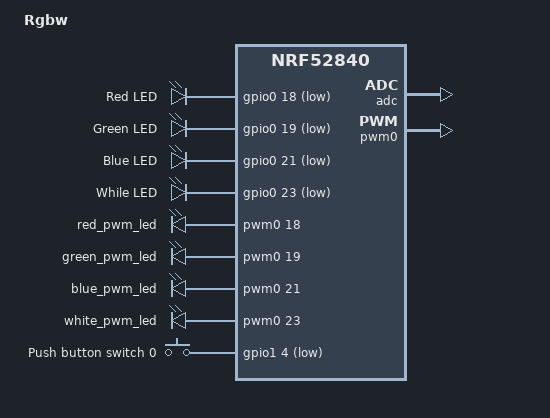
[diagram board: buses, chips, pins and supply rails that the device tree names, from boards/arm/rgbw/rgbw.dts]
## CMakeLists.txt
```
# Find Zephyr. This also loads Zephyr's build system.
cmake_minimum_required(VERSION 3.13.1)

set(CONF_FILE "prj.conf")
list(APPEND CONF_FILE "../config/openthread.conf")
list(APPEND CONF_FILE "../config/coap.conf")
list(APPEND CONF_FILE "../config/fota.conf")
list(APPEND CONF_FILE "../config/dfu.conf")

list(APPEND BOARD_ROOT ${CMAKE_CURRENT_SOURCE_DIR})
find_package(Zephyr REQUIRED HINTS $ENV{ZEPHYR_BASE})
project(rgbw)

# Add your source file to the "app" target. This must come after
# find_package(Zephyr) which defines the target.
target_sources(app PRIVATE src/coap.c)
target_sources(app PRIVATE src/main.c)
target_sources(app PRIVATE src/led.c)
target_sources(app PRIVATE src/led_ctlr.c)
target_sources(app PRIVATE src/preset.c)
target_sources(app PRIVATE src/prov.c)

# TODO: Replace with library target
target_include_directories(app PRIVATE ../lib)
target_sources(app PRIVATE ../lib/cbor_utils.c)
target_sources(app PRIVATE ../lib/coap_fota.c)
target_sources(app PRIVATE ../lib/coap_reboot.c)
target_sources(app PRIVATE ../lib/coap_sd.c)
target_sources(app PRIVATE ../lib/coap_server.c)

if(COAPS_PSK)
    target_compile_definitions(app PRIVATE
        -DCOAPS_PSK=${COAPS_PSK}
        )
endif()
```

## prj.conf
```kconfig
CONFIG_NEWLIB_LIBC=y
CONFIG_FPU=y
CONFIG_FPU_SHARING=y

CONFIG_MAIN_STACK_SIZE=2048
CONFIG_HEAP_MEM_POOL_SIZE=2048

CONFIG_GPIO_AS_PINRESET=n
CONFIG_FLASH=y

CONFIG_PWM=y
#CONFIG_LED=y
#CONFIG_LED_PWM=y

CONFIG_MCUBOOT_IMAGE_VERSION="0.2.0+1"

CONFIG_RESET_ON_FATAL_ERROR=n
```

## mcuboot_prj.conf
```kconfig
#CONFIG_BOOT_SIGNATURE_TYPE_RSA=y
#CONFIG_BOOT_SIGNATURE_TYPE_RSA_LEN=2048
CONFIG_BOOT_SIGNATURE_KEY_FILE="mykey.pem"

#CONFIG_MAIN_STACK_SIZE=2048

CONFIG_RESET_ON_FATAL_ERROR=n
CONFIG_GPIO_AS_PINRESET=n
```

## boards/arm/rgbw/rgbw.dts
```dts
/*
 * Copyright (c) 2020 Hubert Miś
 *
 * SPDX-License-Identifier: Apache-2.0
 */

/dts-v1/;
#include <nordic/nrf52840_qiaa.dtsi>

/ {
	model = "Rgbw";
	compatible = "hubertmis,rgbw";

	chosen {
		zephyr,sram = &sram0;
		zephyr,flash = &flash0;
		zephyr,code-partition = &slot0_partition;
	};

    leds {
        compatible = "gpio-leds";
        led_red: led_0 {
            gpios = <&gpio0 18 GPIO_ACTIVE_LOW>;
            label = "Red LED";
        };
        led_green: led_1 {
            gpios = <&gpio0 19 GPIO_ACTIVE_LOW>;
            label = "Green LED";
        };
        led_blue: led_2 {
            gpios = <&gpio0 21 GPIO_ACTIVE_LOW>;
            label = "Blue LED";
        };
        led_white: led_3 {
            gpios = <&gpio0 23 GPIO_ACTIVE_LOW>;
            label = "While LED";
        };
    };

    pwmleds {
        compatible = "pwm-leds";
        red_pwm_led: pwm_led_0 {
            pwms = <&pwm0 18>;
        };
        green_pwm_led: pwm_led_1 {
            pwms = <&pwm0 19>;
        };
        blue_pwm_led: pwm_led_2 {
            pwms = <&pwm0 21>;
        };
        white_pwm_led: pwm_led_3 {
            pwms = <&pwm0 23>;
        };
    };

    buttons {
        compatible = "gpio-keys";
        button0: button_0 {
            gpios = <&gpio1 4 (GPIO_PULL_UP | GPIO_ACTIVE_LOW)>;
            label = "Push button switch 0";
        };
    };

    /*
    * In some default configurations within the nRF Connect SDK,
    * e.g. on nRF52840, the chosen zephyr,entropy node is &cryptocell.
    * This devicetree overlay ensures that default is overridden wherever it
    * is set, as this application uses the RNG node for entropy exclusively.
    */
    chosen {
        zephyr,entropy = &rng;
    };
};

&adc {
	status = "okay";
};

&gpiote {
	status = "okay";
};

&gpio0 {
	status = "okay";
};

&gpio1 {
	status = "okay";
};

&pwm0 {
    status = "okay";
    ch0-pin = <18>;
    ch0-inverted;
    ch1-pin = <19>;
    ch1-inverted;
    ch2-pin = <21>;
    ch2-inverted;
    ch3-pin = <23>;
    ch3-inverted;
};

&flash0 {

	partitions {
		compatible = "fixed-partitions";
		#address-cells = <1>;
		#size-cells = <1>;

		boot_partition: partition@0 {
			label = "mcuboot";
			reg = <0x000000000 0x0000C000>;
		};
		slot0_partition: partition@c000 {
			label = "image-0";
			reg = <0x0000C000 0x00067000>;
		};
		slot1_partition: partition@73000 {
			label = "image-1";
			reg = <0x00073000 0x00067000>;
		};
		scratch_partition: partition@da000 {
			label = "image-scratch";
			reg = <0x000da000 0x0001e000>;
		};

		/*
		 * The flash starting at 0x000f8000 and ending at
		 * 0x000fffff is reserved for use by the application.
		 */

		/*
		 * Storage partition will be used by FCB/LittleFS/NVS
		 * if enabled.
		 */
		storage_partition: partition@f8000 {
			label = "storage";
			reg = <0x000f8000 0x00008000>;
		};
	};
};
```

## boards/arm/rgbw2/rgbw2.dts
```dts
/*
 * Copyright (c) 2020 Hubert Miś
 *
 * SPDX-License-Identifier: Apache-2.0
 */

/dts-v1/;
#include <nordic/nrf52840_qiaa.dtsi>

/ {
	model = "Rgbw";
	compatible = "hubertmis,rgbw2";

	chosen {
		zephyr,sram = &sram0;
		zephyr,flash = &flash0;
		zephyr,code-partition = &slot0_partition;
	};

    leds {
        compatible = "gpio-leds";
        led_red: led_0 {
            gpios = <&gpio0 19 GPIO_ACTIVE_LOW>;
            label = "Red LED";
        };
        led_green: led_1 {
            gpios = <&gpio0 21 GPIO_ACTIVE_LOW>;
            label = "Green LED";
        };
        led_blue: led_2 {
            gpios = <&gpio0 23 GPIO_ACTIVE_LOW>;
            label = "Blue LED";
        };
        led_white: led_3 {
            gpios = <&gpio0 12 GPIO_ACTIVE_LOW>;
            label = "While LED";
        };
    };

    pwmleds {
        compatible = "pwm-leds";
        red_pwm_led: pwm_led_0 {
            pwms = <&pwm0 19>;
        };
        green_pwm_led: pwm_led_1 {
            pwms = <&pwm0 21>;
        };
        blue_pwm_led: pwm_led_2 {
            pwms = <&pwm0 23>;
        };
        white_pwm_led: pwm_led_3 {
            pwms = <&pwm0 12>;
        };
    };

    buttons {
        compatible = "gpio-keys";
        button0: button_0 {
            gpios = <&gpio1 4 (GPIO_PULL_UP | GPIO_ACTIVE_LOW)>;
            label = "Push button switch 0";
        };
    };

    /*
    * In some default configurations within the nRF Connect SDK,
    * e.g. on nRF52840, the chosen zephyr,entropy node is &cryptocell.
    * This devicetree overlay ensures that default is overridden wherever it
    * is set, as this application uses the RNG node for entropy exclusively.
    */
    chosen {
        zephyr,entropy = &rng;
    };

    /* These aliases are provided for compatibility with samples */
    aliases {
        red-pwm-led = &red_pwm_led;
        green-pwm-led = &green_pwm_led;
        blue-pwm-led = &blue_pwm_led;
        white-pwm-led = &white_pwm_led;
    };

};

&adc {
	status = "okay";
};

&gpiote {
	status = "okay";
};

&gpio0 {
	status = "okay";
};

&gpio1 {
	status = "okay";
};

&pwm0 {
    status = "okay";
    ch0-pin = <19>;
    ch0-inverted;
    ch1-pin = <21>;
    ch1-inverted;
    ch2-pin = <23>;
    ch2-inverted;
    ch3-pin = <12>;
    ch3-inverted;
};

&flash0 {

	partitions {
		compatible = "fixed-partitions";
		#address-cells = <1>;
		#size-cells = <1>;

		boot_partition: partition@0 {
			label = "mcuboot";
			reg = <0x000000000 0x0000C000>;
		};
		slot0_partition: partition@c000 {
			label = "image-0";
			reg = <0x0000C000 0x00067000>;
		};
		slot1_partition: partition@73000 {
			label = "image-1";
			reg = <0x00073000 0x00067000>;
		};
		scratch_partition: partition@da000 {
			label = "image-scratch";
			reg = <0x000da000 0x0001e000>;
		};

		/*
		 * The flash starting at 0x000f8000 and ending at
		 * 0x000fffff is reserved for use by the application.
		 */

		/*
		 * Storage partition will be used by FCB/LittleFS/NVS
		 * if enabled.
		 */
		storage_partition: partition@f8000 {
			label = "storage";
			reg = <0x000f8000 0x00008000>;
		};
	};
};
```

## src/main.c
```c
/*
 * Copyright (c) 2021 Hubert Miś
 *
 * SPDX-License-Identifier: Apache-2.0
 */

#include <assert.h>
#include <stdbool.h>

#include <kernel.h> // Needed by k_sleep

#include <dfu/mcuboot.h>
#include <net/fota_download.h>
#include <net/openthread.h>
#include <openthread/thread.h>
#include <power/reboot.h>

#include "coap.h"
#include "led.h"
#include "led_ctlr.h"
#include "prov.h"

#define TX_POWER 8

#include <settings/settings.h>

static void set_leds(unsigned r, unsigned g, unsigned b, unsigned w)
{
	leds_brightness leds = {
		.r = r,
		.g = g,
		.b = b,
		.w = w,
	};
	led_set(&leds);
}

void fota_callback(const struct fota_download_evt *evt)
{
    if (evt->id == FOTA_DOWNLOAD_EVT_FINISHED) {
        sys_reboot(SYS_REBOOT_COLD);
    }
}

void main(void)
{
    prov_init();
    led_init();

    settings_subsys_init();
    settings_register(prov_get_settings_handler());
    settings_load();

    otError error;
    struct otInstance *ot_instance = openthread_get_default_instance();

    error = otPlatRadioSetTransmitPower(ot_instance, TX_POWER);
    assert(error == OT_ERROR_NONE);

    struct otIp6Address site_local_all_nodes_addr = {.mFields = {.m8 =
            {0xff, 0x05, 0x00, 0x00, 0x00, 0x00, 0x00, 0x00,
             0x00, 0x00, 0x00, 0x00, 0x00, 0x00, 0x00, 0x01} }};

    error = otIp6SubscribeMulticastAddress(ot_instance, &site_local_all_nodes_addr);
    assert(error == OT_ERROR_NONE);

    fota_download_init(fota_callback);
    //data_dispatcher_init();
    coap_init();
    led_ctlr_init();

    boot_write_img_confirmed();

	set_leds(100, 0, 0, 0);
	k_sleep(K_MSEC(50));
	set_leds(0, 100, 0, 0);
	k_sleep(K_MSEC(50));
	set_leds(0, 0, 100, 0);
	k_sleep(K_MSEC(50));
	set_leds(0, 0, 0, 100);
	k_sleep(K_MSEC(50));

	for (int i = 0; i < 50; i++) {
		set_leds(0, 0, 0, i);
		k_sleep(K_MSEC(20));
	}

	leds_brightness leds = {
		.r = 0,
		.g = 0,
		.b = 0,
		.w = 50,
	};
	led_ctlr_set_auto(&leds);
}
```

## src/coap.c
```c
/*
 * Copyright (c) 2021 Hubert Miś
 *
 * SPDX-License-Identifier: Apache-2.0
 */

#include "coap.h"

#include <errno.h>
#include <stdint.h>
#include <stdio.h>

#include <cbor_utils.h>
#include <coap_fota.h>
#include <coap_reboot.h>
#include <coap_sd.h>
#include <coap_server.h>
#include "data_dispatcher.h"
#include "led.h"
#include "led_ctlr.h"
#include "preset.h"
#include "prov.h"

#include <net/socket.h>
#include <net/coap.h>
#include <net/fota_download.h>
#include <net/tls_credentials.h>
#include <tinycbor/cbor.h>
#include <tinycbor/cbor_buf_reader.h>
#include <tinycbor/cbor_buf_writer.h>
#include <zephyr.h>

#define MAX_COAP_MSG_LEN 256
#define MAX_COAP_PAYLOAD_LEN 64

#define MANUAL_VALIDITY_MS (10UL * 3600UL * 1000UL)

#define RED_KEY "r"
#define GREEN_KEY "g"
#define BLUE_KEY "b"
#define WHITE_KEY "w"
#define PRESET_KEY "p"

#define RSRC_KEY "r"
#define PRESET_FMT PRESET_KEY "%d"
#define PRESET_MAX_KEY_SIZE (sizeof(PRESET_KEY) + 2)

static int handle_prov_post(CborValue *value, 
	       	enum coap_response_code *rsp_code, void *context)
{
    (void)context;

    bool updated = false;
    int r;
    char str[PROV_LBL_MAX_LEN];

    // Handle rsrc
    r = cbor_extract_from_map_string(value, RSRC_KEY, str, sizeof(str));
    if ((r >= 0) && (r < PROV_LBL_MAX_LEN)) {
        r = prov_set_rsrc_label(str);

        if (r == 0) {
            updated = true;
        }
    }

    // Handle preset
    for (int i = 0; i < PROV_NUM_PRESETS; i++) {
        CborValue map_value;
        CborError cbor_error;
        char key[PRESET_MAX_KEY_SIZE];
        int key_len;

        struct prov_leds_brightness leds_value;

        key_len = snprintf(key, sizeof(key), PRESET_FMT, i);
        if (key_len < 0 || key_len >= sizeof(key)) {
            continue;
        }

        cbor_error = cbor_value_map_find_value(value, key, &map_value);
        if ((cbor_error == CborNoError) && cbor_value_is_map(&map_value)) {
            // TODO: extract r, g, b, w
            r = cbor_extract_from_map_int(&map_value, RED_KEY, &leds_value.r);
            if (r != 0) continue;
            r = cbor_extract_from_map_int(&map_value, GREEN_KEY, &leds_value.g);
            if (r != 0) continue;
            r = cbor_extract_from_map_int(&map_value, BLUE_KEY, &leds_value.b);
            if (r != 0) continue;
            r = cbor_extract_from_map_int(&map_value, WHITE_KEY, &leds_value.w);
            if (r != 0) continue;

            r = prov_set_preset(i, &leds_value);

            if (r == 0) {
                updated = true;
            }
        }
    }

    if (updated) {
        *rsp_code = COAP_RESPONSE_CODE_CHANGED;
        prov_store();
    }

    return r;
}

static int prov_post(struct coap_resource *resource,
        struct coap_packet *request,
        struct sockaddr *addr, socklen_t addr_len)
{
    int sock = *(int*)resource->user_data;

    return coap_server_handle_simple_setter(sock, resource, request, addr, addr_len,
		    handle_prov_post, NULL);
}

static int prepare_prov_payload(uint8_t *payload, size_t len)
{
    struct cbor_buf_writer writer;
    CborEncoder ce;
    CborEncoder map;
    const char *label;

    cbor_buf_writer_init(&writer, payload, len);
    cbor_encoder_init(&ce, &writer.enc, 0);

    if (cbor_encoder_create_map(&ce, &map, CborIndefiniteLength) != CborNoError) return -EINVAL;

    label = prov_get_rsrc_label();
    if (cbor_encode_text_string(&map, RSRC_KEY, strlen(RSRC_KEY)) != CborNoError) return -EINVAL;
    if (cbor_encode_text_string(&map, label, strlen(label)) != CborNoError) return -EINVAL;

    // Handle presets
    for (int i = 0; i < PROV_NUM_PRESETS; i++) {
        CborEncoder preset_map;
        char key[PRESET_MAX_KEY_SIZE];
        int key_len;
        int r;

        struct prov_leds_brightness value;
        r = prov_get_preset(i, &value);

        if (r < 0) continue;

        key_len = snprintf(key, sizeof(key), PRESET_FMT, i);
        if (key_len < 0 || key_len >= sizeof(key)) {
            continue;
        }

        if (cbor_encode_text_string(&map, key, key_len) != CborNoError) return -EINVAL;
        if (cbor_encoder_create_map(&map, &preset_map, 4) != CborNoError) return -EINVAL;

        if (cbor_encode_text_string(&preset_map, RED_KEY, strlen(RED_KEY)) != CborNoError) return -EINVAL;
        if (cbor_encode_uint(&preset_map, value.r) != CborNoError) return -EINVAL;

        if (cbor_encode_text_string(&preset_map, GREEN_KEY, strlen(GREEN_KEY)) != CborNoError) return -EINVAL;
        if (cbor_encode_uint(&preset_map, value.g) != CborNoError) return -EINVAL;

        if (cbor_encode_text_string(&preset_map, BLUE_KEY, strlen(BLUE_KEY)) != CborNoError) return -EINVAL;
        if (cbor_encode_uint(&preset_map, value.b) != CborNoError) return -EINVAL;

        if (cbor_encode_text_string(&preset_map, WHITE_KEY, strlen(WHITE_KEY)) != CborNoError) return -EINVAL;
        if (cbor_encode_uint(&preset_map, value.w) != CborNoError) return -EINVAL;

        if (cbor_encoder_close_container(&map, &preset_map) != CborNoError) return -EINVAL;
    }

    if (cbor_encoder_close_container(&ce, &map) != CborNoError) return -EINVAL;

    return (size_t)(writer.ptr - payload);
}

static int prov_get(struct coap_resource *resource,
        struct coap_packet *request,
        struct sockaddr *addr, socklen_t addr_len)
{
    int sock = *(int*)resource->user_data;
    int r = 0;
    uint8_t payload[MAX_COAP_PAYLOAD_LEN];
    size_t payload_len;

    r = prepare_prov_payload(payload, MAX_COAP_PAYLOAD_LEN);
    if (r < 0) {
        return r;
    }
    payload_len = r;

    r = coap_server_handle_simple_getter(sock, resource, request, addr, addr_len,
                    payload, payload_len);

    return r;
}

#define DUR_KEY "d"
#define RESET_KEY "res"

static int handle_color(CborValue *value, const char *key, unsigned *color_val)
{
    int new_color;
    int ret = cbor_extract_from_map_int(value, key, &new_color);

    if (!ret) {
        if ((new_color <= MAX_BRIGHTNESS) && (new_color >= 0)) {
            *color_val = new_color;
	    return 0;
	} else {
	    return -EINVAL;
	}
    }

    return ret;
}

static int handle_rgbw_post(CborValue *value, enum coap_response_code *rsp_code, void *context)
{
    bool updated = false;
    int ret;
    leds_brightness leds;
    unsigned dur = 0;
    int new_dur, p;
    bool reset = false;

    if (led_get(&leds) != 0) {
        *rsp_code = COAP_RESPONSE_CODE_INTERNAL_ERROR;
        return -EINVAL;
    }

    *rsp_code = COAP_RESPONSE_CODE_BAD_REQUEST;

    // Handle red
    ret = handle_color(value, RED_KEY, &leds.r);
    if (!ret) {
        updated = true;
    }

    // Handle green
    ret = handle_color(value, GREEN_KEY, &leds.g);
    if (!ret) {
        updated = true;
    }

    // Handle blue
    ret = handle_color(value, BLUE_KEY, &leds.b);
    if (!ret) {
        updated = true;
    }

    // Handle white
    ret = handle_color(value, WHITE_KEY, &leds.w);
    if (!ret) {
        updated = true;
    }

    // Handle duration
    ret = cbor_extract_from_map_int(value, DUR_KEY, &new_dur);
    if (!ret) {
        dur = new_dur;
    }

    // Handle preset
    ret = cbor_extract_from_map_int(value, PRESET_KEY, &p);
    if (!ret) {
        ret = preset_get(p, &leds, &dur);
        if (!ret) {
            updated = true;
        }
    }

    // Handle reset
    ret = cbor_extract_from_map_bool(value, RESET_KEY, &reset);
    if (!ret && reset) {
        *rsp_code = COAP_RESPONSE_CODE_CHANGED;
	led_ctlr_reset_manual();
	updated = false;
    }

    if (updated) {
        *rsp_code = COAP_RESPONSE_CODE_CHANGED;
        led_ctlr_set_manual(&leds, dur, MANUAL_VALIDITY_MS);
    }

    return ret;
}

static int rgb_post(struct coap_resource *resource,
        struct coap_packet *request,
        struct sockaddr *addr, socklen_t addr_len)
{
    int sock = *(int*)resource->user_data;

    return coap_server_handle_non_con_setter(sock, resource, request, addr, addr_len,
		    handle_rgbw_post, NULL);
}


static int prepare_rgb_payload(uint8_t *payload, size_t len)
{
    struct cbor_buf_writer writer;
    CborEncoder ce;
    CborEncoder map;
    leds_brightness leds;

    if (led_get(&leds) != 0) return -EINVAL;

    cbor_buf_writer_init(&writer, payload, len);
    cbor_encoder_init(&ce, &writer.enc, 0);

    if (cbor_encoder_create_map(&ce, &map, 4) != CborNoError) return -EINVAL;

    if (cbor_encode_text_string(&map, RED_KEY, strlen(RED_KEY)) != CborNoError) return -EINVAL;
    if (cbor_encode_uint(&map, leds.r) != CborNoError) return -EINVAL;

    if (cbor_encode_text_string(&map, GREEN_KEY, strlen(GREEN_KEY)) != CborNoError) return -EINVAL;
    if (cbor_encode_uint(&map, leds.g) != CborNoError) return -EINVAL;

    if (cbor_encode_text_string(&map, BLUE_KEY, strlen(BLUE_KEY)) != CborNoError) return -EINVAL;
    if (cbor_encode_uint(&map, leds.b) != CborNoError) return -EINVAL;

    if (cbor_encode_text_string(&map, WHITE_KEY, strlen(WHITE_KEY)) != CborNoError) return -EINVAL;
    if (cbor_encode_uint(&map, leds.w) != CborNoError) return -EINVAL;

    if (cbor_encoder_close_container(&ce, &map) != CborNoError) return -EINVAL;

    return (size_t)(writer.ptr - payload);
}

static int rgb_get(struct coap_resource *resource,
        struct coap_packet *request,
        struct sockaddr *addr, socklen_t addr_len)
{
    int sock = *(int*)resource->user_data;
    int r = 0;
    uint8_t payload[MAX_COAP_PAYLOAD_LEN];
    size_t payload_len;

    r = prepare_rgb_payload(payload, MAX_COAP_PAYLOAD_LEN);
    if (r < 0) {
        return r;
    }
    payload_len = r;

    return coap_server_handle_simple_getter(sock, resource, request, addr, addr_len,
                    payload, payload_len);
}

static int handle_auto_post(CborValue *value, enum coap_response_code *rsp_code, void *context)
{
    bool r_valid = false;
    bool g_valid = false;
    bool b_valid = false;
    bool w_valid = false;
    int ret;
    leds_brightness leds;

    // Handle red
    ret = handle_color(value, RED_KEY, &leds.r);
    if (!ret) {
        r_valid = true;
    }

    // Handle green
    ret = handle_color(value, GREEN_KEY, &leds.g);
    if (!ret) {
        g_valid = true;
    }

    // Handle blue
    ret = handle_color(value, BLUE_KEY, &leds.b);
    if (!ret) {
        b_valid = true;
    }

    // Handle white
    ret = handle_color(value, WHITE_KEY, &leds.w);
    if (!ret) {
        w_valid = true;
    }

    if (r_valid && g_valid && b_valid && w_valid) {
        *rsp_code = COAP_RESPONSE_CODE_CHANGED;
        led_ctlr_set_auto(&leds);
    } else {
        *rsp_code = COAP_RESPONSE_CODE_BAD_REQUEST;
    }

    return ret;
}

static int auto_post(struct coap_resource *resource,
        struct coap_packet *request,
        struct sockaddr *addr, socklen_t addr_len)
{
    int sock = *(int*)resource->user_data;

    return coap_server_handle_simple_setter(sock, resource, request, addr, addr_len,
		    handle_auto_post, NULL);
}

#if 0
static int handle_dim_post(CborValue *value, enum coap_response_code *rsp_code, void *context)
{
    int ret;
    int duration_ms = 0;
    bool duration_valid = false;

    // Handle duration
    ret = cbor_extract_from_map_int(value, DUR_KEY, &duration_ms);
    if (!ret) {
	    duration_valid = true;
    }

    if (duration_valid && (duration_ms >= 0)) {
        *rsp_code = COAP_RESPONSE_CODE_CHANGED;

        if (duration_ms > 0) {
            led_ctlr_dim(duration_ms);
        } else {
            led_ctlr_reset_dimmer();
	}
    } else {
        *rsp_code = COAP_RESPONSE_CODE_BAD_REQUEST;
    }

    return ret;
}

static int dim_post(struct coap_resource *resource,
        struct coap_packet *request,
        struct sockaddr *addr, socklen_t addr_len)
{
    int sock = *(int*)resource->user_data;

    return coap_server_handle_simple_setter(sock, resource, request, addr, addr_len,
		    handle_dim_post, NULL);
}
#endif

#define PRJ_KEY "p"

static int handle_prj_post(CborValue *value, enum coap_response_code *rsp_code, void *context)
{
    int ret;
    int duration_ms = 2 * 60 * 1000;
    bool prj_active = false;

    // Handle duration
    ret = cbor_extract_from_map_int(value, DUR_KEY, &duration_ms);
    if (duration_ms <= 0) {
        *rsp_code = COAP_RESPONSE_CODE_BAD_REQUEST;
        return -EINVAL;
    }

    // Handle projector being enabled
    ret = cbor_extract_from_map_bool(value, PRJ_KEY, &prj_active);
    if (ret) {
        *rsp_code = COAP_RESPONSE_CODE_BAD_REQUEST;
        return -EINVAL;
    }

    if (prj_active) {
        led_ctlr_dim(duration_ms);
    } else {
        led_ctlr_reset_dimmer();
    }

    *rsp_code = COAP_RESPONSE_CODE_CHANGED;
    return 0;
}

static int prj_post(struct coap_resource *resource,
        struct coap_packet *request,
        struct sockaddr *addr, socklen_t addr_len)
{
    int sock = *(int*)resource->user_data;

    return coap_server_handle_non_con_setter(sock, resource, request, addr, addr_len,
		    handle_prj_post, NULL);
}

static struct coap_resource * rsrcs_get(int sock)
{
    static const char * const fota_path [] = {"fota_req", NULL};
    static const char * const sd_path [] = {"sd", NULL};
    static const char * const prov_path[] = {"prov", NULL};
    static const char * const reboot_path[] = {"reboot", NULL};
    static const char * const rgb_path[] = {"rgb", NULL};
    static const char * rsrc_path[] = {NULL, NULL};
    static const char * auto_path[] = {NULL, "auto", NULL};
    static const char * prj_path[] = {NULL, "prj", NULL};

    static struct coap_resource resources[] = {
        { .get = coap_fota_get,
          .post = coap_fota_post,
          .path = fota_path,
        },
        { .get = coap_sd_server,
          .path = sd_path,
        },
	{ .get = prov_get,
	  .post = prov_post,
	  .path = prov_path,
	},
	{ .post = coap_reboot_post,
	  .path = reboot_path,
	},
	{ .get = rgb_get,
	  .post = rgb_post,
	  .path = rgb_path,
	},
	{ .get = rgb_get,
	  .post = rgb_post,
          .path = rsrc_path,
	},
	{ .post = auto_post,
	  .path = auto_path,
	},
	{ .post = prj_post,
	  .path = prj_path,
	},
        { .path = NULL } // Array terminator
    };

    rsrc_path[0] = prov_get_rsrc_label();
    auto_path[0] = rsrc_path[0];
    prj_path[0] = rsrc_path[0];

    if (!rsrc_path[0] || !strlen(rsrc_path[0])) {
	    resources[ARRAY_SIZE(resources)-4].path = NULL;
    } else {
	    resources[ARRAY_SIZE(resources)-4].path = rsrc_path;
    }

    // TODO: Replace it with something better
    static int user_data;
   
    user_data = sock;

    for (int i = 0; i < ARRAY_SIZE(resources); ++i) {
        resources[i].user_data = &user_data;
    }

    return resources;
}

void coap_init(void)
{
    coap_server_init(rsrcs_get);
}
```

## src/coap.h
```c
/*
 * Copyright (c) 2020 Hubert Miś
 *
 * SPDX-License-Identifier: Apache-2.0
 */

/**
 * @file
 * @brief CoAP Server
 */
    
#ifndef COAP_H_
#define COAP_H_

#include <net/socket.h>
    
#ifdef __cplusplus
extern "C" {
#endif

typedef void (*coap_sd_found)(const struct sockaddr *src_addr,
                              const socklen_t *addrlen,
                              const char *name,
                              const char *type);


void coap_init(void);

/** @brief Run Service Discovery procedure
 *
 * Transmit multicast Service Discovery request and collect responses.
 * Each response causes call to @p cb callback. Caller must be ready to handle
 * callback any number of times (including 0) per single request.
 */
int coap_sd_start(const char *name, const char *type, coap_sd_found cb, bool mesh);

#ifdef __cplusplus
}   
#endif

#endif // COAP_H_
```

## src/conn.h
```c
/*
 * Copyright (c) 2020 Hubert Miś
 *
 * SPDX-License-Identifier: Apache-2.0
 */

/**
 * @file
 * @brief Network connection
 */
    
#ifndef CONN_H_
#define CONN_H_
    
#ifdef __cplusplus
extern "C" {
#endif

void conn_init(void);

#ifdef __cplusplus
}   
#endif

#endif // CONN_H_
```

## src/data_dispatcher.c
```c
/*
 * Copyright (c) 2020 Hubert Miś
 *
 * SPDX-License-Identifier: Apache-2.0
 */

#include "data_dispatcher.h"

#include <assert.h>
#include <stdbool.h>
#include <stddef.h>
#include <string.h>

#define DEFAULT_TEMP 200
#define DEFAULT_HYST 5
#define DEFAULT_P    3584
#define DEFAULT_I    255

static data_dispatcher_publish_t   data_store[DATA_NUM][DATA_LOC_NUM];
static data_dispatcher_subscribe_t *subscribers[DATA_NUM];

static void set_default_data(void)
{
    for (int i = 0; i < DATA_NUM; i++)
    {
        for (int j = 0; j < DATA_LOC_NUM; j++)
        {
            data_store[i][j].type = i;
            data_store[i][j].loc  = j;
        }
    }

    for (int j = 0; j < DATA_LOC_NUM; j++)
    {
        data_store[DATA_TEMP_MEASUREMENT][j].temp_measurement = DEFAULT_TEMP;
        data_store[DATA_TEMP_SETTING][j].temp_setting         = DEFAULT_TEMP;
    }

    data_store[DATA_CONTROLLER][DATA_LOC_LOCAL].controller.mode       = DATA_CTLR_PID;
    data_store[DATA_CONTROLLER][DATA_LOC_LOCAL].controller.p          = DEFAULT_P;
    data_store[DATA_CONTROLLER][DATA_LOC_LOCAL].controller.i          = DEFAULT_I;
    data_store[DATA_CONTROLLER][DATA_LOC_REMOTE].controller.mode      = DATA_CTLR_PID;
    data_store[DATA_CONTROLLER][DATA_LOC_REMOTE].controller.p         = DEFAULT_P;
    data_store[DATA_CONTROLLER][DATA_LOC_REMOTE].controller.i         = DEFAULT_I;
}

void data_dispatcher_init(void)
{
    for (int i = 0; i < DATA_NUM; i++)
    {
        subscribers[i] = NULL;
    }

    memset(data_store, 0, sizeof(data_store));

    set_default_data();
}

void data_dispatcher_subscribe(data_t type, data_dispatcher_subscribe_t *subscribe)
{
    assert(type < DATA_NUM);
    assert(subscribe != NULL);

    subscribe->next   = subscribers[type];
    subscribers[type] = subscribe;
}

void data_dispatcher_unsubscribe(data_t type, data_dispatcher_subscribe_t *subscribe)
{
    assert(type < DATA_NUM);
    assert(subscribe != NULL);

    for (data_dispatcher_subscribe_t *item = subscribers[type]; item != NULL; item = item->next)
    {
        if (item->next == subscribe)
        {
            item->next = subscribe->next;
        }
    }

    if (subscribers[type] == subscribe)
    {
        subscribers[type] = subscribe->next;
    }
}

void data_dispatcher_publish(data_dispatcher_publish_t *data)
{
    assert(data != NULL);

    data_loc_t loc  = data->loc;
    data_t     type = data->type;

    assert(loc < DATA_LOC_NUM);
    assert(type < DATA_NUM);

    data_dispatcher_publish_t *entry = &data_store[type][loc];
    *entry = *data;

    for (data_dispatcher_subscribe_t *item = subscribers[type]; item != NULL; item = item->next)
    {
        item->callback(data);
    }
}

void data_dispatcher_get(data_t type, data_loc_t loc, const data_dispatcher_publish_t **data)
{
    assert(type < DATA_NUM);
    assert(loc < DATA_LOC_NUM);

    *data = &data_store[type][loc];
}
```

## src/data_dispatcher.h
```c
/*
 * Copyright (c) 2020 Hubert Miś
 *
 * SPDX-License-Identifier: Apache-2.0
 */

/**
 * @file
 * @brief Application data dispatcher
 */
    
#ifndef DATA_DISPATCHER_H_
#define DATA_DISPATCHER_H_
    
#include <stdint.h>

#ifdef __cplusplus
extern "C" {
#endif

#define TEMP_MIN (-500)

typedef enum {
    DATA_TEMP_MEASUREMENT,
    DATA_TEMP_SETTING,
    DATA_OUTPUT,
    DATA_CONTROLLER,

    DATA_VENT_REQ,
    DATA_VENT_CURR,

    DATA_NUM
} data_t;

typedef enum {
    DATA_LOC_LOCAL,
    DATA_LOC_REMOTE,

    DATA_LOC_NUM
} data_loc_t;

typedef enum {
    DATA_CTLR_ONOFF,
    DATA_CTLR_PID,
} data_ctlr_mode_t;

typedef enum {
    VENT_SM_UNAVAILABLE,
    VENT_SM_NONE,
    VENT_SM_AIRING,
} data_vent_sm_t;

typedef struct {
    data_loc_t loc;
    data_t     type;
    union {
        int16_t temp_measurement;
        int16_t temp_setting;
        uint16_t output;

        struct {
            data_ctlr_mode_t mode;

            union {
                struct {
                    uint16_t p;
                    uint16_t i;
                };

                uint16_t hysteresis;
            };
        } controller;

        data_vent_sm_t vent_mode;
    };
} data_dispatcher_publish_t;

typedef void (*data_dispatcher_callback_t)(const data_dispatcher_publish_t *data);

typedef struct data_dispatcher_subscribe {
    data_dispatcher_callback_t        callback;
    struct data_dispatcher_subscribe *next;
} data_dispatcher_subscribe_t;

void data_dispatcher_init(void);

void data_dispatcher_subscribe(data_t type, data_dispatcher_subscribe_t *subscribe);
void data_dispatcher_unsubscribe(data_t type, data_dispatcher_subscribe_t *subscribe);
void data_dispatcher_publish(data_dispatcher_publish_t *data);

void data_dispatcher_get(data_t type, data_loc_t loc, const data_dispatcher_publish_t **data);

#ifdef __cplusplus
}   
#endif

#endif // DATA_DISPATCHER_H_
```

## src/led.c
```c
/*
 * Copyright (c) 2021 Hubert Miś
 *
 * SPDX-License-Identifier: Apache-2.0
 */

#define DT_DRV_COMPAT pwm_leds

#include "led.h"

#include <device.h>
#include <drivers/pwm.h>
#include <zephyr.h>

// Calculate PWM value as polynomial for more linear user experience.
#define MAX_PERIOD 32767U
#define CALC_PWM_VALUE(VAL) (((uint32_t)(VAL) * (uint32_t)(VAL)) / 2U)
#define PERIOD CALC_PWM_VALUE(MAX_BRIGHTNESS)
BUILD_ASSERT(PERIOD <= MAX_PERIOD, "Invalid PWM period configuration");

struct led_pwm {
	const struct device *dev;
	uint32_t channel;
	uint32_t period;
	pwm_flags_t flags;
};

struct led_pwm_config {
	int num_leds;
	const struct led_pwm *led;
};

#define LED_PWM(led_node_id)						\
{									\
	.dev		= DEVICE_DT_GET(DT_PWMS_CTLR(led_node_id)),	\
	.channel	= DT_PWMS_CHANNEL(led_node_id),			\
	.period		= DT_PHA_OR(led_node_id, pwms, period, 100),	\
	.flags		= DT_PHA_OR(led_node_id, pwms, flags,		\
				    PWM_POLARITY_NORMAL),		\
},

#define LED_PWM_DEVICE(id)					\
								\
static const struct led_pwm led_pwm_##id[] = {			\
	DT_INST_FOREACH_CHILD(id, LED_PWM)			\
};								\
								\
static const struct led_pwm_config led_pwm_config_##id = {	\
	.num_leds	= ARRAY_SIZE(led_pwm_##id),		\
	.led		= led_pwm_##id,				\
};

DT_INST_FOREACH_STATUS_OKAY(LED_PWM_DEVICE)

enum { RED, GREEN, BLUE, WHITE, LEDS_NUM };

struct led_data {
	int64_t start_ts;
	int64_t target_ts;
	uint8_t start_val;
	uint8_t curr_val;
	uint8_t target_val;
};

static struct led_data led_values[LEDS_NUM];


static int led_set_brightness(uint32_t channel, uint8_t brightness)
{
    if (channel >= led_pwm_config_0.num_leds) {
	    return -EINVAL;
    }
    if (brightness > MAX_BRIGHTNESS) {
	    return -EINVAL;
    }

    const struct device *dev = led_pwm_0[channel].dev;
    if (!dev) {
        return -ENODEV;
    }
    if (!device_is_ready(dev)) {
        return -ENODEV;
    }

    const uint32_t pulse = PERIOD - CALC_PWM_VALUE(brightness);

    return pwm_pin_set_cycles(dev, led_pwm_0[channel].channel,
		    PERIOD, pulse, led_pwm_0[channel].flags);
}

#define ANIM_STACK_SIZE 512
#define ANIM_PRIORITY 1

K_SEM_DEFINE(anim_sem, 0, 1);

static void animate_led(int64_t now, struct led_data *data)
{
	if (!data) return;

	float anim_dur = data->target_ts - data->start_ts;
	float anim_elapsed = now - data->start_ts;
	float anim_span = (int32_t)data->target_val - (int32_t)data->start_val;
	float y;
	float x = anim_elapsed;

	if (anim_elapsed >= anim_dur) {
		data->curr_val = data->target_val;
		return;
	}

#if GRACEFUL_ANIMATION || 1
	float a = 2 * anim_span / (anim_dur * anim_dur);
	if (x < anim_dur / 2) {
		y = a * x * x;
	} else {
		float anim_remaining = anim_dur - x;
		y = anim_span - a * (anim_remaining * anim_remaining);
	}
#else // LINEAR_ANIMATION
	float a = anim_span / anim_dur;
	y = a * x;
#endif

	uint8_t curr_val = (float)data->start_val + y;
	data->curr_val = curr_val;
}

static void anim_entry_point(void *, void *, void *)
{
	while (1) {
		bool ready = true;
		for (size_t i = 0; i < LEDS_NUM; i++) {
			if (led_values[i].curr_val != led_values[i].target_val) {
				ready = false;
				break;
			}
		}

		k_sem_take(&anim_sem, ready ? K_FOREVER : K_MSEC(20));

		int64_t now = k_uptime_get();
		for (size_t i = 0; i < LEDS_NUM; i++) {
			animate_led(now, led_values + i);
		}
		for (size_t i = 0; i < LEDS_NUM; i++) {
			led_set_brightness(i, led_values[i].curr_val);
		}
	}
}

K_THREAD_DEFINE(anim_tid, ANIM_STACK_SIZE,
                anim_entry_point, NULL, NULL, NULL,
                ANIM_PRIORITY, 0, 0);

bool leds_brightness_equal(const leds_brightness *a,
                           const leds_brightness *b)
{
	if (a->r != b->r) return false;
	if (a->g != b->g) return false;
	if (a->b != b->b) return false;
	if (a->w != b->w) return false;

	return true;
}

void led_init(void)
{
	// Intentionally empty
}

int led_get(leds_brightness *leds)
{
	leds->r = led_values[RED].target_val;
	leds->g = led_values[GREEN].target_val;
	leds->b = led_values[BLUE].target_val;
	leds->w = led_values[WHITE].target_val;

	return 0;
}

int led_anim(const leds_brightness *leds, unsigned dur_ms)
{
	int64_t now = k_uptime_get();
	int64_t start_ts = now;
	int64_t target_ts = now + dur_ms;

	for (size_t i = 0; i < LEDS_NUM; i++) {
		led_values[i].start_val = led_values[i].curr_val;
		led_values[i].start_ts = start_ts;
		led_values[i].target_ts = target_ts;
	}

	led_values[RED].target_val = leds->r;
	led_values[GREEN].target_val = leds->g;
	led_values[BLUE].target_val = leds->b;
	led_values[WHITE].target_val = leds->w;
	
	k_sem_give(&anim_sem);

	return 0;
}

int led_set(const leds_brightness *leds)
{
    return led_anim(leds, 0);
}
```

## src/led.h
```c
/*
 * Copyright (c) 2021 Hubert Miś
 *
 * SPDX-License-Identifier: Apache-2.0
 */

/**
 * @file
 * @brief LED animation support
 */
    
#ifndef LED_H_
#define LED_H_

#ifdef __cplusplus
extern "C" {
#endif

#include <stdbool.h>
#include "prov.h"

#define MAX_BRIGHTNESS 255U

typedef struct prov_leds_brightness leds_brightness;

bool leds_brightness_equal(const leds_brightness *a,
                           const leds_brightness *b);

void led_init(void);

int led_get(leds_brightness *leds);

/** @brief Set LEDs to given color instantly
 */
int led_set(const leds_brightness *leds);
/** @brief Set LEDs to given color gradually
 */
int led_anim(const leds_brightness *leds, unsigned dur_ms);

#ifdef __cplusplus
}   
#endif

#endif // LED_H_
```

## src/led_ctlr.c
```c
/*
 * Copyright (c) 2022 Hubert Miś
 *
 * SPDX-License-Identifier: Apache-2.0
 */

#include "led_ctlr.h"

#include <stdbool.h>

#include <kernel.h>

#define AUTO_ANIM_DUR_MS 3000
#define DIMMED_ANIM_DUR_MS 10000

static leds_brightness leds_auto;
static leds_brightness leds_manual;
static unsigned manual_anim_dur_ms;

int64_t manual_timestamp;
int64_t dimmed_timestamp;

static void timer_handler_invalidate_manual(struct k_timer *timer_id);
static void work_handler_invalidate_manual(struct k_work *work);
static void timer_handler_dimmer(struct k_timer *timer_id);
static void work_handler_dimmer(struct k_work *work);

K_TIMER_DEFINE(manual_invalidate_timer, timer_handler_invalidate_manual, NULL);
K_WORK_DEFINE(manual_invalidator, work_handler_invalidate_manual);

K_TIMER_DEFINE(dimmer_timer, timer_handler_dimmer, NULL);
K_WORK_DEFINE(dimmer_invalidator, work_handler_dimmer);

static void disable_leds(leds_brightness *leds)
{
	leds->r = 0;
	leds->g = 0;
	leds->b = 0;
	leds->w = 0;
}

static void process(void)
{
	leds_brightness dimmed;
	disable_leds(&dimmed);

	if (dimmed_timestamp > manual_timestamp) {
		led_anim(&dimmed, DIMMED_ANIM_DUR_MS);
	} else if (manual_timestamp > 0) {
		led_anim(&leds_manual, manual_anim_dur_ms);
	} else {
		led_anim(&leds_auto, AUTO_ANIM_DUR_MS);
	}
}

static void timer_handler_invalidate_manual(struct k_timer *timer_id)
{
	(void)timer_id;

	k_work_submit(&manual_invalidator);
}

static void work_handler_invalidate_manual(struct k_work *work)
{
	(void)work;

	manual_timestamp = 0;
	process();
}

static void timer_handler_dimmer(struct k_timer *timer_id)
{
	(void)timer_id;
	k_work_submit(&dimmer_invalidator);
}

static void work_handler_dimmer(struct k_work *work)
{
	(void)work;

	dimmed_timestamp = 0;
	process();
}

void led_ctlr_init(void)
{
	manual_timestamp = 0;
	dimmed_timestamp = 0;
	disable_leds(&leds_auto);
	disable_leds(&leds_manual);
}

int led_ctlr_set_auto(const leds_brightness *leds)
{
	leds_auto = *leds;
	process();
	return 0;
}

int led_ctlr_set_manual(const leds_brightness *leds, unsigned anim_dur_ms, unsigned long validity_ms)
{
	leds_brightness dimmed;
	disable_leds(&dimmed);

	if (leds_brightness_equal(leds, &dimmed) && dimmed_timestamp) {
		dimmed_timestamp = k_uptime_get();
	} else {
		manual_timestamp = k_uptime_get();
		leds_manual = *leds;
		manual_anim_dur_ms = anim_dur_ms;
	}

	process();

	k_timer_start(&manual_invalidate_timer, K_MSEC(validity_ms), K_NO_WAIT);
	return 0;
}

int led_ctlr_reset_manual(void)
{
	manual_timestamp = 0;
	process();
	return 0;
}

int led_ctlr_dim(unsigned long validity_ms)
{
	if (!dimmed_timestamp) {
		dimmed_timestamp = k_uptime_get();
	}

	process();

	k_timer_start(&dimmer_timer, K_MSEC(validity_ms), K_NO_WAIT);
	return 0;
}

int led_ctlr_reset_dimmer(void)
{
	dimmed_timestamp = 0;
	process();
	return 0;
}
```

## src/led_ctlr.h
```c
/*
 * Copyright (c) 2022 Hubert Miś
 *
 * SPDX-License-Identifier: Apache-2.0
 */

/**
 * @file
 * @brief LED orchestrator
 */
    
#ifndef LED_CTLR_H_
#define LED_CTLR_H_

#include "led.h"

#ifdef __cplusplus
extern "C" {
#endif

void led_ctlr_init(void);

int led_ctlr_set_auto(const leds_brightness *leds);
int led_ctlr_set_manual(const leds_brightness *leds, unsigned anim_dur_ms, unsigned long validity_ms);
int led_ctlr_reset_manual(void);
int led_ctlr_dim(unsigned long validity_ms);
int led_ctlr_reset_dimmer(void);

#ifdef __cplusplus
}   
#endif

#endif // LED_CTLR_H_
```

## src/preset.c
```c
/*
 * Copyright (c) 2022 Hubert Miś
 *
 * SPDX-License-Identifier: Apache-2.0
 */

#include "preset.h"

#include "led.h"
#include "prov.h"

#include <errno.h>

static int load_preset(unsigned preset,
		 leds_brightness *leds)
{
	int ret;
	struct prov_leds_brightness stored_preset;

	if (preset >= PROV_NUM_PRESETS) {
		return -ENOENT;
	}

	ret = prov_get_preset(preset, &stored_preset);
	if (ret < 0) {
		return ret;
	}

	*leds = stored_preset;
	return 0;
}

int preset_get(unsigned preset,
		leds_brightness *leds,
		unsigned *duration)
{
	if (preset) {
		int ret;
		ret = load_preset(preset, leds);

		if (ret < 0) {
			return ret;
		}

		*duration = 1000;
		return 0;
	} else {
		leds_brightness leds0;
		led_get(&leds0);

		if (leds0.r || leds0.g || leds0.b || leds0.w) {
			// Something is enabled. Swtich leds off.
			leds->r = 0;
			leds->g = 0;
			leds->b = 0;
			leds->w = 0;
		} else {
			// LEDs are switched off. Switch them on using preset 0.
			int ret;
			ret = load_preset(0, leds);

			if (ret < 0) {
				return ret;
			}
		}
		*duration = 2000;

		return 0;
	}
}
```

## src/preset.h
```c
/*
 * Copyright (c) 2022 Hubert Miś
 *
 * SPDX-License-Identifier: Apache-2.0
 */

/**
 * @file
 * @brief Preset LED configurations
 */
    
#ifndef PRESET_H_
#define PRESET_H_

#include "prov.h"

#ifdef __cplusplus
extern "C" {
#endif

int preset_get(unsigned preset,
		struct prov_leds_brightness *leds,
		unsigned *duration);

#ifdef __cplusplus
}   
#endif

#endif // PRESET_H_
```

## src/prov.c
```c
/*
 * Copyright (c) 2021 Hubert Miś
 *
 * SPDX-License-Identifier: Apache-2.0
 */

#include "prov.h"

#include <errno.h>
#include <stdio.h>
#include <string.h>
#include <settings/settings.h>

#include <coap_sd.h>

#define SETT_NAME "prov"
#define RSRC_NAME "r"
#define RSRC_TYPE "rgbw"
#define PRESET_NAME "p"
#define MAX_PRESET_NAME_SIZE (sizeof(PRESET_NAME) + 2)

static char rsrc_label[PROV_LBL_MAX_LEN];
static const char rsrc_type[] = RSRC_TYPE;
static struct prov_leds_brightness presets[PROV_NUM_PRESETS];

void prov_init(void)
{
    rsrc_label[0] = '\0';

    for (int i = 0; i < PROV_NUM_PRESETS; i++) {
        presets[i].r = 0;
        presets[i].g = 0;
        presets[i].b = 0;
        presets[i].w = 0;
    }
}

int prov_set_rsrc_label(const char *new_rsrc_label)
{
    if (strlen(new_rsrc_label) >= PROV_LBL_MAX_LEN) {
        return -2;
    }

    strncpy(rsrc_label, new_rsrc_label, PROV_LBL_MAX_LEN);
    return 0;
}

const char *prov_get_rsrc_label(void)
{
    return rsrc_label;
}

int prov_set_preset(int preset_id, const struct prov_leds_brightness *leds)
{
    if (preset_id < 0 || preset_id >= PROV_NUM_PRESETS) {
        return -1;
    }

    presets[preset_id] = *leds;
    return 0;
}

int prov_get_preset(int preset_id, struct prov_leds_brightness *leds)
{
    if (preset_id < 0 || preset_id >= PROV_NUM_PRESETS) {
        return -1;
    }

    struct prov_leds_brightness *preset = &presets[preset_id];

    if (preset->r == 0 && preset->g == 0 && preset->b == 0 && preset->w == 0) {
        return -ENOENT;
    }

    *leds = presets[preset_id];
    return 0;
}

static int prov_set_from_nvm(const char *name, size_t len,
                             settings_read_cb read_cb, void *cb_arg)
{
    const char *next;
    int rc;

    if (settings_name_steq(name, RSRC_NAME, &next) && !next) {
        if (len >= PROV_LBL_MAX_LEN) {
            return -EINVAL;
        }

        rc = read_cb(cb_arg, rsrc_label, PROV_LBL_MAX_LEN);

        if (rc < 0) {
            return rc;
        }

        rsrc_label[rc] = '\0';
        coap_sd_server_register_rsrc(rsrc_label, rsrc_type);

        return 0;
    }

    for (int i = 0; i < PROV_NUM_PRESETS; i++) {
        char preset_name[MAX_PRESET_NAME_SIZE];
        int preset_name_len = snprintf(preset_name, sizeof(preset_name), PRESET_NAME "%d", i);

        if (preset_name_len < 0 || preset_name_len >= sizeof(preset_name)) {
            continue;
        }

        if (settings_name_steq(name, preset_name, &next) && !next) {
            if (len != sizeof(presets[i])) {
                return -EINVAL;
            }

            rc = read_cb(cb_arg, &presets[i], sizeof(presets[i]));

            if (rc < 0) {
                return rc;
            }

            return 0;
        }
    }

    return -ENOENT;
}

static struct settings_handler sett_conf = {
    .name = SETT_NAME,
    .h_set = prov_set_from_nvm,
};

void prov_store(void)
{
    settings_save_one(SETT_NAME "/" RSRC_NAME, rsrc_label, strlen(rsrc_label));
    for (int i = 0; i < PROV_NUM_PRESETS; i++) {
        char preset_name[sizeof(SETT_NAME) + 1 + MAX_PRESET_NAME_SIZE];
        int preset_name_len = snprintf(preset_name, sizeof(preset_name), SETT_NAME "/" PRESET_NAME "%d", i);

        if (preset_name_len < 0 || preset_name_len >= sizeof(preset_name)) {
            continue;
        }

        settings_save_one(preset_name, &presets[i], sizeof(presets[i]));
    }
    coap_sd_server_clear_all_rsrcs();
    coap_sd_server_register_rsrc(rsrc_label, rsrc_type);
}

struct settings_handler *prov_get_settings_handler(void)
{
    return &sett_conf;
}
```
